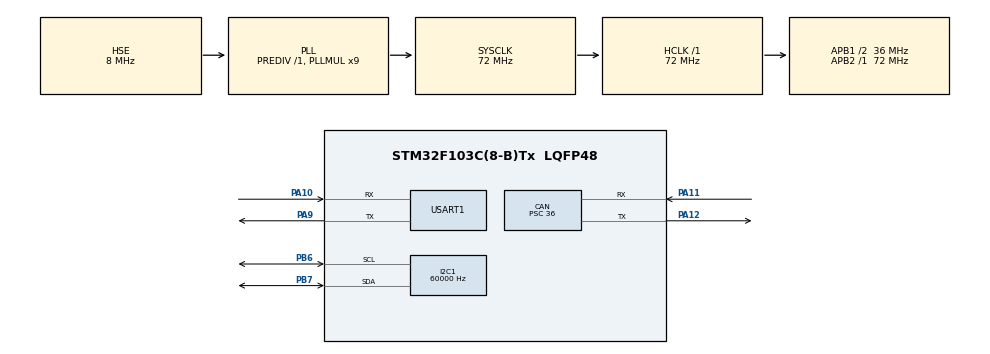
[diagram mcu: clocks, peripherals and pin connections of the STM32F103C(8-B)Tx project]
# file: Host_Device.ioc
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CAN.ABOM=ENABLE
CAN.AWUM=ENABLE
CAN.BS1=CAN_BS1_3TQ
CAN.BS2=CAN_BS2_6TQ
CAN.CalculateBaudRate=100000
CAN.CalculateTimeBit=10000
CAN.CalculateTimeQuantum=1000.0
CAN.Prescaler=36
CAN.SJW=CAN_SJW_2TQ
I2C1.ClockSpeed=60000
I2C1.GeneralCallMode=I2C_GENERALCALL_DISABLE
I2C1.NoStretchMode=I2C_NOSTRETCH_DISABLE
Mcu.Family=STM32F1
Mcu.Name=STM32F103C(8-B)Tx
Mcu.Package=LQFP48
NVIC.PriorityGroup=NVIC_PRIORITYGROUP_4
PA10.Mode=Asynchronous
PA10.Signal=USART1_RX
PA11.Mode=CAN_Activate
PA11.Signal=CAN_RX
PA12.Mode=CAN_Activate
PA12.Signal=CAN_TX
PA13.Mode=Serial_Wire
PA13.Signal=SYS_JTMS-SWDIO
PA14.Mode=Serial_Wire
PA14.Signal=SYS_JTCK-SWCLK
PA9.Mode=Asynchronous
PA9.Signal=USART1_TX
PB6.Mode=I2C
PB6.Signal=I2C1_SCL
PB7.Mode=I2C
PB7.Signal=I2C1_SDA
PC14-OSC32_IN.Mode=LSE-External-Oscillator
PC14-OSC32_IN.Signal=RCC_OSC32_IN
PC15-OSC32_OUT.Mode=LSE-External-Oscillator
PC15-OSC32_OUT.Signal=RCC_OSC32_OUT
PD0-OSC_IN.Mode=HSE-External-Oscillator
PD0-OSC_IN.Signal=RCC_OSC_IN
PD1-OSC_OUT.Mode=HSE-External-Oscillator
PD1-OSC_OUT.Signal=RCC_OSC_OUT
ProjectManager.HeapSize=0x200
ProjectManager.StackSize=0x400
ProjectManager.TargetToolchain=MDK-ARM V5.32
RCC.AHBFreq_Value=72000000
RCC.APB1CLKDivider=RCC_HCLK_DIV2
RCC.APB1Freq_Value=36000000
RCC.APB1TimFreq_Value=72000000
RCC.APB2Freq_Value=72000000
RCC.APB2TimFreq_Value=72000000
RCC.HCLKFreq_Value=72000000
RCC.PLLMUL=RCC_PLL_MUL9
RCC.PLLSourceVirtual=RCC_PLLSOURCE_HSE
RCC.SYSCLKFreq_VALUE=72000000
RCC.SYSCLKSource=RCC_SYSCLKSOURCE_PLLCLK
RCC.USBFreq_Value=72000000
USART1.VirtualMode=VM_ASYNC
board=custom

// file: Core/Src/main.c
/* USER CODE BEGIN Header */
/**
  ******************************************************************************
  * @file           : main.c
  * @brief          : Main program body
  ******************************************************************************
  * @attention
  *
  * Copyright (c) 2026 STMicroelectronics.
  * All rights reserved.
  *
  * This software is licensed under terms that can be found in the LICENSE file
  * in the root directory of this software component.
  * If no LICENSE file comes with this software, it is provided AS-IS.
  *
  ******************************************************************************
  */
/* USER CODE END Header */
#include "main.h"
#include "can.h"
#include "i2c.h"
#include "usart.h"
#include "gpio.h"

/* USER CODE BEGIN Includes */
#include "string.h"
#include "stdlib.h"
#include "AppUpdate.h"
/* USER CODE END Includes */

/* USER CODE BEGIN PD */
#define stdId 0x123
/* USER CODE END PD */

void SystemClock_Config(void);

int main(void)
{

  /* MCU Configuration--------------------------------------------------------*/

  /* Reset of all peripherals, Initializes the Flash interface and the Systick. */
  HAL_Init();

  /* Configure the system clock */
  SystemClock_Config();

  /* Initialize all configured peripherals */
  MX_GPIO_Init();
  MX_CAN_Init();
  MX_I2C1_Init();
  MX_USART1_UART_Init();
  /* USER CODE BEGIN 2 */
  CAN_FilterConfig();
  HAL_CAN_Start(&hcan);

	printf("current version in host:");
  for(int i=0;i<4;i++)
  {
    printf("%c",*((volatile uint8_t *)(APP_VERSION_NUM_ADDR+i)));
  }
  printf("\r\nsize:%lu\r\n",*((volatile uint32_t *)APP_SIZE_ADDR));

  printf("host start...\r\n");
  uint8_t *host_version=NULL;
  uint8_t *slave_version=NULL;
	//向从机请求从机当前版本信息
  uint8_t *data="version";
  CAN_SendMsg_long(stdId,data,strlen((const char*)data));
  printf("access information of current version of slave.\r\n");

  RxMsg msg[8]={0};
  uint16_t MsgCount=0;
  CAN_ReceiveMsg(msg,&MsgCount);
  slave_version=msg[0].data;
  printf_Infor_from_CAN(msg,MsgCount);

  //向电脑端获取最新版本信息
  printf("access latest version\r\n");
  uint8_t rxMsg[512]={0};
  uint16_t rxLen=0;
  rxLen=Receive_Info_from_UART(rxMsg,4);
  printf("uart receive data: %s-->%d\r\n",rxMsg,rxLen);
  //暂存最新版本号
  uint8_t last_version[4]={0};
  memcpy(last_version,rxMsg,4);

  //存储从机版本与最新版本的比较结果
  uint8_t *compare_result="NO";
  //比较slave版本和最新版本是否一致
	printf("start compare version between slave and latest:Need update(YES)/No need(NO)\r\n");
  // if(strncmp((const char*)slave_version,(const char*)rxMsg,4)==0)
  //一致，不需要更新
  if(memcmp(slave_version,rxMsg,4)==HAL_OK)
  {
		printf("Slave no need update.\r\n");
		//发送版本比较结果给从机，YES表示需要更新，NO表示不需要更新
		CAN_SendMsg_long(stdId,compare_result,strlen((const char*)compare_result));
		printf("send '%s' successfully.\r\n",compare_result);
  }
  //不一致，需要更新
  else
  {
		//更新主机中的版本

    compare_result="YES";
    printf("Slave need update.\r\n");
    printf("Starting update host and compare version between host and latest.\r\n");

		//比较主机中的版本与最新版本是否一致
    //从flash中读取host中存有的app的版本号
    host_version=(volatile uint8_t *)APP_VERSION_NUM_ADDR;
    // if(strncmp((const char*)host_version,(const char*)rxMsg,4)==0)
    //一致，不需要更新host现存版本
    if(memcmp(host_version,rxMsg,4)==HAL_OK)
    {
      printf("No need to update app of host\r\n");
    }
    //不一致，需要更新host现存版本
    else
    {
      printf("Start to update app of host\r\n");
      //得到新程序大小Byte
      printf("Inputing file size(Byte) please:\r\n");
      Receive_Info_from_UART(rxMsg,16);
      rxLen=atoi((const char*)rxMsg);
      printf("file size:%d Byte\r\n",rxLen);
      //擦除flash
      printf("start erase special flash\r\n");
      Flash_Erase(APP_VERSION_NUM_ADDR,rxLen);
      printf("flash erase successfully.\r\n");

      //存储最新app的版本和大小
      while(HAL_FLASH_Unlock()!=HAL_OK);
      //存储app的版本号
      //暂存新的版本号
      uint32_t vn=((uint32_t)last_version[3]<<24)|((uint32_t)last_version[2]<<16)|((uint32_t)last_version[1]<<8)|last_version[0];
      HAL_FLASH_Program(FLASH_TYPEPROGRAM_WORD,APP_VERSION_NUM_ADDR,vn);
	    //存储app大小
      HAL_FLASH_Program(FLASH_TYPEPROGRAM_WORD,APP_SIZE_ADDR,rxLen);
      HAL_FLASH_Lock();

      //通过uart从电脑接收新版本程序并写入到flash
			printf("start receive app from UART to host flash\r\n");
      rxLen=Receive_app_from_UART(rxMsg,rxLen);
      printf("received app:%d Byte.\r\n",rxLen);
      printf("Host have updated.\r\n");
    }

		//发送版本比较结果给从机，YES表示需要更新，NO表示不需要更新
		CAN_SendMsg_long(stdId,compare_result,strlen((const char*)compare_result));
		printf("send '%s' successfully.\r\n",compare_result);

		//读取host的flash中的最新版本程序并发送给slave
		//等待从机备份好，发来start1再开始发送
		printf("waitting 'start1' of slave.\r\n");
		while(1)
		{
			CAN_ReceiveMsg(msg,&rxLen);
			printf_Infor_from_CAN(msg,rxLen);
			if(strncmp((const char *)msg[0].data,"start1",6)==0) break;
			else printf("Retry please.");
		}

		//开始发送
		printf("start send app from host flash to slave\r\n");
    //发送数据版本号
    printf("current version:");
    for(int i=0;i<4;i++)
    {
      printf("%c",last_version[i]);
    }
    printf("\r\nSending app version num.\r\n");
    CAN_SendMsg_long(stdId,last_version,4);
    printf("Sending app version num successfully\r\n");

		//发送数据大小Byte
		uint32_t app_size=*((volatile uint32_t *)APP_SIZE_ADDR);
		printf("current app_size:%lu Byte\r\n",app_size);
		printf("Sending app size.\r\n");
		uint8_t temp_arr[2]={(uint8_t)(app_size&0xFF),(uint8_t)(app_size>>8)};
		CAN_SendMsg_long(stdId,temp_arr,2);
		printf("Sending app size successfully\r\n");

    //等待从机备份好，发来start2再开始发送
		printf("waitting 'start2' of slave.\r\n");
		while(1)
		{
			CAN_ReceiveMsg(msg,&rxLen);
			printf_Infor_from_CAN(msg,rxLen);
			if(strncmp((const char *)msg[0].data,"start2",6)==0) break;
			else printf("Retry please.");
		}

		//发送数据内容
		printf("Starting send app content...\r\n");
		CAN_Send_App_From_Flash(stdId,app_size);
		printf("send app finished!\r\n");
  }
  printf("bootloader finished.\r\n");
  printf("last version:");
  for(int i=0;i<4;i++)
  {
    printf("%c",*((volatile uint8_t *)(APP_VERSION_NUM_ADDR+i)));
  }
  printf("\r\nsize:%lu",*((volatile uint32_t *)APP_SIZE_ADDR));

  /* USER CODE END 2 */

  /* Infinite loop */
  while (1)
  {
  }
}

void SystemClock_Config(void)
{
  RCC_OscInitTypeDef RCC_OscInitStruct = {0};
  RCC_ClkInitTypeDef RCC_ClkInitStruct = {0};

  /** Initializes the RCC Oscillators according to the specified parameters
  * in the RCC_OscInitTypeDef structure.
  */
  RCC_OscInitStruct.OscillatorType = RCC_OSCILLATORTYPE_HSE;
  RCC_OscInitStruct.HSEState = RCC_HSE_ON;
  RCC_OscInitStruct.HSEPredivValue = RCC_HSE_PREDIV_DIV1;
  RCC_OscInitStruct.HSIState = RCC_HSI_ON;
  RCC_OscInitStruct.PLL.PLLState = RCC_PLL_ON;
  RCC_OscInitStruct.PLL.PLLSource = RCC_PLLSOURCE_HSE;
  RCC_OscInitStruct.PLL.PLLMUL = RCC_PLL_MUL9;
  if (HAL_RCC_OscConfig(&RCC_OscInitStruct) != HAL_OK)
  {
    Error_Handler();
  }

  /** Initializes the CPU, AHB and APB buses clocks
  */
  RCC_ClkInitStruct.ClockType = RCC_CLOCKTYPE_HCLK|RCC_CLOCKTYPE_SYSCLK
                              |RCC_CLOCKTYPE_PCLK1|RCC_CLOCKTYPE_PCLK2;
  RCC_ClkInitStruct.SYSCLKSource = RCC_SYSCLKSOURCE_PLLCLK;
  RCC_ClkInitStruct.AHBCLKDivider = RCC_SYSCLK_DIV1;
  RCC_ClkInitStruct.APB1CLKDivider = RCC_HCLK_DIV2;
  RCC_ClkInitStruct.APB2CLKDivider = RCC_HCLK_DIV1;

  if (HAL_RCC_ClockConfig(&RCC_ClkInitStruct, FLASH_LATENCY_2) != HAL_OK)
  {
    Error_Handler();
  }
}

void Error_Handler(void)
{
  __disable_irq();
  while (1)
  {
  }
}
